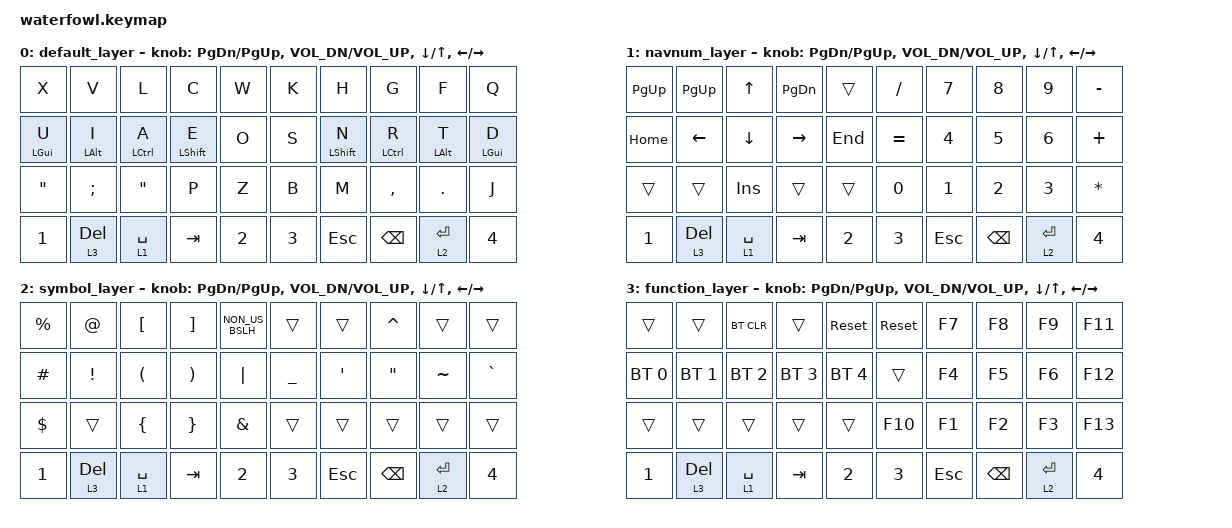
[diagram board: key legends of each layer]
/*
 * Copyright (c) 2022 The ZMK Contributors
 *
 * SPDX-License-Identifier: MIT
 */

#include <behaviors.dtsi>
#include <dt-bindings/zmk/keys.h>
#include <dt-bindings/zmk/bt.h>

/ {
    keymap {
        compatible = "zmk,keymap";

        default_layer {
/* QWERTY
 *
 * ,----------------------------------.                      ,----------------------------------.
 * |   X  |   V  |   L  |   C  |   W  |                      |   K  |   H  |   G  |   F  |   Q  |
 * |------+------+------+------+------|                      |------+------+------+------+------|
 * |   U  |   I  |   A  |   E  |   O  |                      |   S  |   N  |   R  |   T  |   D  |
 * |------+------+------+------+------|  ,-----.    ,-----.  |------+------+------+------+------|
 * |   Ü  |   Ö  |   Ä  |   P  |   Z  |  |  2  |    |  3  |  |   B  |   M  |   ,  |   .  |   J  |
 * `----------------------------------'  `-----'    `-----'  `----------------------------------'
 *          ,-----.   ,--------------------.            ,--------------------.   ,-----.
 *          |  1  |   | DEL | SPACE | TAB  |            |  ESC  | BS | ENTER |   |  4  |
 *          `-----'   `--------------------'            `--------------------'   `-----'
 */
            bindings = <
    &kp X       &kp V       &kp L       &kp C       &kp W           &kp K   &kp H       &kp G       &kp F       &kp Q
    &mt LGUI U  &mt LALT I  &mt LCTRL A &mt LSHFT E &kp O           &kp S   &mt LSHFT N &mt LCTRL R &mt LALT T  &mt LGUI D
    &kp DQT     &kp SEMI    &kp DQT     &kp P       &kp Z           &kp B   &kp M       &kp COMMA   &kp DOT     &kp J
    &kp N1      &lt 3 DEL   &lt 1 SPACE &kp TAB     &kp N2          &kp N3  &kp ESC     &kp BSPC    &lt 2 RET   &kp N4
            >;

            sensor-bindings = <
                &inc_dec_kp PAGE_DOWN PAGE_UP
                &inc_dec_kp C_VOL_DN C_VOL_UP
                &inc_dec_kp DOWN UP
                &inc_dec_kp LEFT RIGHT
            >;
        };

        navnum_layer {
/* NAVNUM
 *
 * ,----------------------------------.                      ,----------------------------------.
 * | PgUp | PgUp |  UP  | PgDn |      |                      |   /  |   7  |   8  |   9  |   -  |
 * |------+------+------+------+------|                      |------+------+------+------+------|
 * | Home | Left | Down | Right| End  |                      |   =  |   4  |   5  |   6  |   +  |
 * |------+------+------+------+------|  ,-----.    ,-----.  |------+------+------+------+------|
 * |      |      |  INS |      |      |  |  2  |    |  3  |  |   0  |   1  |   2  |   3  |   *  |
 * `----------------------------------'  `-----'    `-----'  `----------------------------------'
 *          ,-----.   ,--------------------.            ,--------------------.   ,-----.
 *          |  1  |   | DEL | SPACE | MO(3)|            |  ESC  | BS | ENTER |   |  4  |
 *          `-----'   `--------------------'            `--------------------'   `-----'
 */
            bindings = <
    &kp PG_UP   &kp PG_UP   &kp UP      &kp PG_DN   &trans                  &kp FSLH    &kp N7  &kp N8      &kp N9      &kp MINUS
    &kp HOME    &kp LEFT    &kp DOWN    &kp RIGHT   &kp END                 &kp EQUAL   &kp N4  &kp N5      &kp N6      &kp PLUS
    &trans      &trans      &kp INS     &trans      &trans                  &kp N0      &kp N1  &kp N2      &kp N3      &kp ASTERISK
    &kp N1      &lt 3 DEL   &lt 1 SPACE &kp TAB     &kp N2                  &kp N3      &kp ESC &kp BSPC    &lt 2 RET   &kp N4
            >;

            sensor-bindings = <
                &inc_dec_kp PAGE_DOWN PAGE_UP
                &inc_dec_kp C_VOL_DN C_VOL_UP
                &inc_dec_kp DOWN UP
                &inc_dec_kp LEFT RIGHT
            >;
        };

        symbol_layer {
/* SYM
 *
 * ,----------------------------------.                      ,----------------------------------.
 * |   %  |   @  |   [  |   ]  |   \  |                      |      |      |   ^  |      |      |
 * |------+------+------+------+------|                      |------+------+------+------+------|
 * |   #  |   !  |   (  |   )  |   |  |                      |   _  |   '  |   "  |   ~  |   `  |
 * |------+------+------+------+------|  ,-----.    ,-----.  |------+------+------+------+------|
 * |   $  |      |   {  |   }  |   &  |  |  2  |    |  3  |  |      |      |      |      |      |
 * `----------------------------------'  `-----'    `-----'  `----------------------------------'
 *          ,-----.   ,--------------------.            ,--------------------.   ,-----.
 *          |  1  |   | DEL | SPACE | TAB  |            |  ESC  | BS | ENTER |   |  4  |
 *          `-----'   `--------------------'            `--------------------'   `-----'
 */
            bindings = <
    &kp PRCNT       &kp AT      &kp LBKT    &kp RBKT    &kp NON_US_BSLH         &trans          &trans          &kp CARET           &trans      &trans
    &kp HASH        &kp EXCL    &kp LPAR    &kp RPAR    &kp PIPE                &kp UNDER       &kp APOS        &kp DOUBLE_QUOTES   &kp TILDE   &kp GRAVE
    &kp DLLR        &trans      &kp LBRC    &kp RBRC    &kp AMPS                &trans          &trans          &trans              &trans      &trans
    &kp N1          &lt 3 DEL   &lt 1 SPACE &kp TAB     &kp N2                  &kp N3          &kp ESC         &kp BSPC            &lt 2 RET   &kp N4
            >;

            sensor-bindings = <
                &inc_dec_kp PAGE_DOWN PAGE_UP
                &inc_dec_kp C_VOL_DN C_VOL_UP
                &inc_dec_kp DOWN UP
                &inc_dec_kp LEFT RIGHT
            >;
        };

        function_layer {
/* FUNC
 *
 * ,----------------------------------.                      ,----------------------------------.
 * |      |      | BTCLR|      | Reset|                      | Reset|  F7  |  F8  |  F9  |  F11 |
 * |------+------+------+------+------|                      |------+------+------+------+------|
 * |  BT0 |  BT1 |  BT2 |  BT3 |  BT4 |                      |      |  F4  |  F5  |  F6  |  F12 |
 * |------+------+------+------+------|  ,-----.    ,-----.  |------+------+------+------+------|
 * |      |      |      |      |      |  |  2  |    |  3  |  |  F10 |  F1  |  F2  |  F3  |  F13 |
 * `----------------------------------'  `-----'    `-----'  `----------------------------------'
 *          ,-----.   ,--------------------.            ,--------------------.   ,-----.
 *          |  1  |   | DEL | SPACE | TAB  |            |  ESC  | BS | ENTER |   |  4  |
 *          `-----'   `--------------------'            `--------------------'   `-----'
 */
            bindings = <
    &trans          &trans          &bt BT_CLR      &trans          &sys_reset          &sys_reset  &kp F7  &kp F8      &kp F9      &kp F11
    &bt BT_SEL 0    &bt BT_SEL 1    &bt BT_SEL 2    &bt BT_SEL 3    &bt BT_SEL 4        &trans      &kp F4  &kp F5      &kp F6      &kp F12
    &trans          &trans          &trans          &trans          &trans              &kp F10     &kp F1  &kp F2      &kp F3      &kp F13
    &kp N1          &lt 3 DEL       &lt 1 SPACE     &kp TAB         &kp N2              &kp N3      &kp ESC &kp BSPC    &lt 2 RET   &kp N4
            >;

            sensor-bindings = <
                &inc_dec_kp PAGE_DOWN PAGE_UP
                &inc_dec_kp C_VOL_DN C_VOL_UP
                &inc_dec_kp DOWN UP
                &inc_dec_kp LEFT RIGHT
            >;
        };

    };
};
